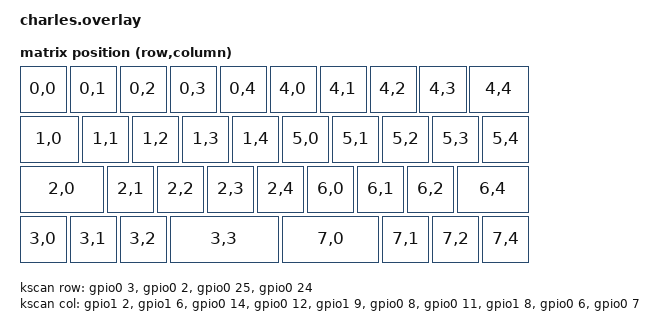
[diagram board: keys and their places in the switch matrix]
/*
 * Copyright (c) 2023 The ZMK Contributors
 *
 * SPDX-License-Identifier: MIT
 */

#include <nordic/nrf52840_qiaa.dtsi>
#include <dt-bindings/zmk/matrix_transform.h>
#include <physical_layouts.dtsi>

/ {
    chosen {
		zephyr,code-partition = &code_partition;
		zephyr,sram = &sram0;
		zephyr,flash = &flash0;
		zmk,kscan = &kscan;
		zmk,battery = &vbatt;
        zmk,physical-layout = &split_bar_layout;
	};

    split_bar_transform: split_bar_transform {
        compatible = "zmk,matrix-transform";
        columns = <10>;
        rows = <4>;

        map = <
          RC(0,0) RC(0,1) RC(0,2) RC(0,3) RC(0,4) RC(4,0) RC(4,1) RC(4,2) RC(4,3) RC(4,4) 
          RC(1,0) RC(1,1) RC(1,2) RC(1,3) RC(1,4) RC(5,0) RC(5,1) RC(5,2) RC(5,3) RC(5,4) 
          RC(2,0) RC(2,1) RC(2,2) RC(2,3) RC(2,4) RC(6,0) RC(6,1) RC(6,2) RC(6,4) 
          RC(3,0) RC(3,1) RC(3,2) RC(3,3)         RC(7,0) RC(7,1) RC(7,2) RC(7,4)
        >;
    };

    kscan: kscan {
    compatible = "zmk,kscan-gpio-matrix";
    wakeup-source;
    debounce-press-ms = <1>;
    debounce-release-ms = <5>;

    diode-direction = "col2row";

    col-gpios
        = <&gpio1 2 (GPIO_ACTIVE_HIGH)>
        , <&gpio1 6  (GPIO_ACTIVE_HIGH)>
        , <&gpio0 14  (GPIO_ACTIVE_HIGH)>
        , <&gpio0 12  (GPIO_ACTIVE_HIGH)>
        , <&gpio1 9 (GPIO_ACTIVE_HIGH)>
        , <&gpio0 8  (GPIO_ACTIVE_HIGH)>
        , <&gpio0 11  (GPIO_ACTIVE_HIGH)>
        , <&gpio1 8  (GPIO_ACTIVE_HIGH)>
        , <&gpio0 6  (GPIO_ACTIVE_HIGH)>
        , <&gpio0 7  (GPIO_ACTIVE_HIGH)>
        ;
    row-gpios
        = <&gpio0 3 (GPIO_ACTIVE_HIGH | GPIO_PULL_DOWN)>
        , <&gpio0 2 (GPIO_ACTIVE_HIGH | GPIO_PULL_DOWN)>
        , <&gpio0 25 (GPIO_ACTIVE_HIGH | GPIO_PULL_DOWN)>
        , <&gpio0 24 (GPIO_ACTIVE_HIGH | GPIO_PULL_DOWN)>
        ;
};

&adc {
	status = "okay";
};

&gpiote {
	status = "okay";
};

&gpio0 {
	status = "okay";
};

&gpio1 {
	status = "okay";
};


zephyr_udc0: &usbd {
	status = "okay";
}; 


&flash0 {
	/*
	 * For more information, see:
	 * http://docs.zephyrproject.org/latest/devices/dts/flash_partitions.html
	 */
	partitions {
		compatible = "fixed-partitions";
		#address-cells = <1>;
		#size-cells = <1>;

		sd_partition: partition@0 {
			reg = <0x00000000 0x00001000>;
		};
		code_partition: partition@1000 {
			reg = <0x00001000 0x000d3000>;
		};

		storage_partition: partition@d4000 {
			reg = <0x000d4000 0x00020000>;
		};

		boot_partition: partition@f4000 {
			reg = <0x000f4000 0x0000c000>;
		};
	};
};

split_bar_layout: split_bar_layout {
    compatible = "zmk,physical-layout";
    display-name = "Split Bar";
    transform = <&split_bar_transform>;
    kscan = <&kscan0>;
    keys //                      w   h    x    y     rot    rx    ry
        = <&key_physical_attrs 100 100    0    0       0     0     0>
        , <&key_physical_attrs 100 100  100    0       0     0     0>
        , <&key_physical_attrs 100 100  200    0       0     0     0>
        , <&key_physical_attrs 100 100  300    0       0     0     0>
        , <&key_physical_attrs 100 100  400    0       0     0     0>
        , <&key_physical_attrs 100 100  500    0       0     0     0>
        , <&key_physical_attrs 100 100  600    0       0     0     0>
        , <&key_physical_attrs 100 100  700    0       0     0     0>
        , <&key_physical_attrs 100 100  800    0       0     0     0>
        , <&key_physical_attrs 125 100  900    0       0     0     0>

        , <&key_physical_attrs 125 100    0  100       0     0     0>
        , <&key_physical_attrs 100 100  125  100       0     0     0>
        , <&key_physical_attrs 100 100  225  100       0     0     0>
        , <&key_physical_attrs 100 100  325  100       0     0     0>
        , <&key_physical_attrs 100 100  425  100       0     0     0>
        , <&key_physical_attrs 100 100  525  100       0     0     0>
        , <&key_physical_attrs 100 100  625  100       0     0     0>
        , <&key_physical_attrs 100 100  725  100       0     0     0>
        , <&key_physical_attrs 100 100  825  100       0     0     0>
        , <&key_physical_attrs 100 100  925  100       0     0     0>

        , <&key_physical_attrs 175 100    0  200       0     0     0>
        , <&key_physical_attrs 100 100  175  200       0     0     0>
        , <&key_physical_attrs 100 100  275  200       0     0     0>
        , <&key_physical_attrs 100 100  375  200       0     0     0>
        , <&key_physical_attrs 100 100  475  200       0     0     0>
        , <&key_physical_attrs 100 100  575  200       0     0     0>
        , <&key_physical_attrs 100 100  675  200       0     0     0>
        , <&key_physical_attrs 100 100  775  200       0     0     0>
        , <&key_physical_attrs 150 100  875  200       0     0     0>

        , <&key_physical_attrs 100 100    0  300       0     0     0>
        , <&key_physical_attrs 100 100  100  300       0     0     0>
        , <&key_physical_attrs 100 100  200  300       0     0     0>
        , <&key_physical_attrs 225 100  300  300       0     0     0>
        , <&key_physical_attrs 200 100  525  300       0     0     0>
        , <&key_physical_attrs 100 100  725  300       0     0     0>
        , <&key_physical_attrs 100 100  825  300       0     0     0>
        , <&key_physical_attrs 100 100  925  300       0     0     0>
        ;
    };
};  

